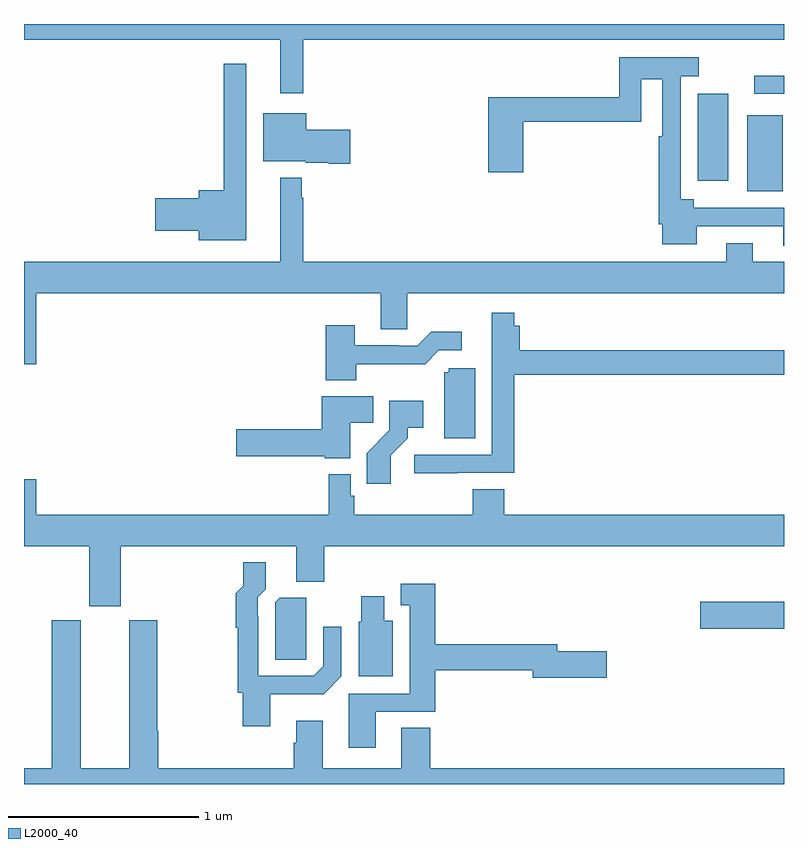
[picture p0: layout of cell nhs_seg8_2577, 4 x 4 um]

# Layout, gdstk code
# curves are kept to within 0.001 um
import gdstk
lib = gdstk.Library(unit=1e-6, precision=1e-09)
def R(c, l, rs):  # rectangles x0, y0, x1, y1
    for r in rs: c.add(gdstk.rectangle(r[:2], r[2:], *l))
def P(c, l, *ps):  # polygons
    for p in ps: c.add(gdstk.Polygon(p, *l))
L2000_40 = (2000, 40)

nhs_seg8_2577 = lib.new_cell('nhs_seg8_2577')
R(nhs_seg8_2577, L2000_40, [(276.558,1130.717,277,1130.859), (276.806,1133.021,276.994,1133.419), (276.545,1133.076,276.706,1133.533), (276.843,1133.532,277,1133.628)])
P(nhs_seg8_2577, L2000_40, [(274.471,1133.816),(277,1133.816),(277,1133.9),(273,1133.9),(273,1133.816),(274.349,1133.816),(274.349,1133.535),(274.471,1133.535)],
  [(277,1132.932),(276.526,1132.932),(276.526,1132.978),(276.456,1132.978),(276.456,1133.624),(276.55,1133.624),(276.55,1133.724),(276.133,1133.724),(276.133,1133.515),(275.444,1133.515),(275.444,1133.121),(275.627,1133.121),(275.627,1133.386),(276.249,1133.386),(276.249,1133.608),(276.36,1133.608),(276.36,1133.309),(276.34,1133.309),(276.34,1132.846),(276.359,1132.846),(276.359,1132.742),(276.541,1132.742),(276.541,1132.836),(276.995,1132.836),(276.995,1132.734),(277,1132.734)],
  [(274.171,1133.692),(274.05,1133.692),(274.05,1133.026),(273.92,1133.026),(273.92,1132.982),(273.69,1132.982),(273.69,1132.811),(273.92,1132.811),(273.92,1132.763),(274.171,1132.763)],
  [(274.717,1133.343),(274.486,1133.343),(274.486,1133.431),(274.259,1133.431),(274.259,1133.177),(274.482,1133.177),(274.482,1133.171),(274.604,1133.171),(274.604,1133.165),(274.717,1133.165)],
  [(273.064,1132.484),(274.877,1132.484),(274.877,1132.294),(275.016,1132.294),(275.016,1132.484),(277,1132.484),(277,1132.648),(276.835,1132.648),(276.835,1132.747),(276.695,1132.747),(276.695,1132.648),(274.471,1132.648),(274.471,1132.985),(274.463,1132.985),(274.463,1133.092),(274.349,1133.092),(274.349,1132.648),(273,1132.648),(273,1132.11),(273.064,1132.11)],
  [(275.279,1131.537),(275.579,1131.537),(275.579,1132.054),(277,1132.054),(277,1132.183),(275.609,1132.183),(275.609,1132.312),(275.579,1132.312),(275.579,1132.381),(275.463,1132.381),(275.463,1131.633),(275.055,1131.633),(275.055,1131.535),(275.279,1131.535)],
  [(274.749,1132.11),(275.111,1132.109),(275.184,1132.182),(275.305,1132.182),(275.305,1132.279),(275.143,1132.279),(275.07,1132.206),(274.97,1132.206),(274.97,1132.209),(274.741,1132.209),(274.741,1132.315),(274.589,1132.315),(274.589,1132.025),(274.749,1132.025)],
  [(275.374,1132.089),(275.235,1132.089),(275.235,1132.068),(275.213,1132.068),(275.213,1131.72),(275.374,1131.72)],
  [(274.717,1131.802),(274.838,1131.802),(274.838,1131.94),(274.568,1131.94),(274.568,1131.767),(274.116,1131.767),(274.116,1131.625),(274.584,1131.625),(274.584,1131.614),(274.717,1131.614)],
  [(274.93,1131.631),(275.02,1131.721),(275.02,1131.776),(275.101,1131.776),(275.101,1131.916),(274.923,1131.916),(274.923,1131.761),(274.804,1131.642),(274.804,1131.48),(274.93,1131.48)],
  [(273.508,1131.152),(274.433,1131.152),(274.433,1130.965),(274.581,1130.965),(274.581,1131.152),(277,1131.152),(277,1131.316),(275.528,1131.316),(275.528,1131.452),(275.363,1131.452),(275.363,1131.316),(274.739,1131.316),(274.739,1131.417),(274.719,1131.417),(274.719,1131.529),(274.603,1131.529),(274.603,1131.316),(273.064,1131.316),(273.064,1131.505),(273,1131.505),(273,1131.152),(273.344,1131.152),(273.344,1130.835),(273.508,1130.835)],
  [(274.297,1130.372),(274.577,1130.372),(274.671,1130.466),(274.671,1130.728),(274.575,1130.728),(274.575,1130.52),(274.524,1130.469),(274.233,1130.469),(274.233,1130.783),(274.23,1130.783),(274.23,1130.883),(274.273,1130.926),(274.273,1131.067),(274.153,1131.067),(274.153,1130.943),(274.115,1130.904),(274.115,1130.722),(274.125,1130.722),(274.125,1130.379),(274.15,1130.379),(274.15,1130.205),(274.297,1130.205)],
  [(274.852,1130.28),(275.165,1130.28),(275.165,1130.5),(275.678,1130.5),(275.678,1130.458),(276.067,1130.458),(276.067,1130.6),(275.806,1130.6),(275.806,1130.636),(275.165,1130.636),(275.165,1130.953),(274.982,1130.953),(274.982,1130.84),(275.03,1130.84),(275.03,1130.376),(274.709,1130.376),(274.709,1130.091),(274.852,1130.091)],
  [(274.942,1130.758),(274.897,1130.758),(274.897,1130.887),(274.775,1130.887),(274.775,1130.754),(274.763,1130.754),(274.763,1130.468),(274.942,1130.468)],
  [(274.485,1130.665),(274.486,1130.665),(274.486,1130.88),(274.347,1130.88),(274.323,1130.856),(274.323,1130.554),(274.485,1130.554)],
  [(277,1129.984),(275.138,1129.984),(275.138,1130.195),(274.985,1130.195),(274.985,1129.984),(274.573,1129.984),(274.573,1130.233),(274.433,1130.233),(274.433,1130.117),(274.421,1130.117),(274.421,1129.984),(273.707,1129.984),(273.707,1130.18),(273.702,1130.18),(273.702,1130.763),(273.554,1130.763),(273.554,1129.984),(273.298,1129.984),(273.298,1130.763),(273.146,1130.763),(273.146,1129.984),(273,1129.984),(273,1129.9),(277,1129.9)])

lib.write_gds('nhs_seg8_2577.gds')
